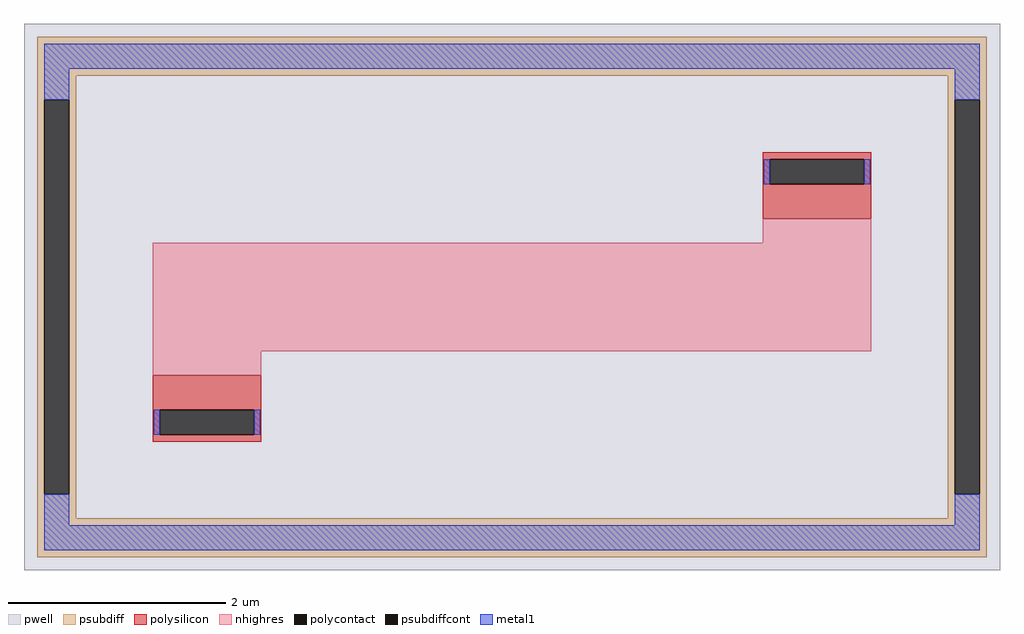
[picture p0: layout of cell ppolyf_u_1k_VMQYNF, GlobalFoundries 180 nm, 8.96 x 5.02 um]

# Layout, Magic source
magic
tech gf180mcuD
magscale 1 10
<< pwell >>
rect -896 -502 896 502
<< psubdiff >>
rect -872 406 872 478
rect -872 362 -800 406
rect -872 -362 -859 362
rect -813 -362 -800 362
rect 800 362 872 406
rect -872 -406 -800 -362
rect 800 -362 813 362
rect 859 -362 872 362
rect 800 -406 872 -362
rect -872 -478 872 -406
<< psubdiffcont >>
rect -859 -362 -813 362
rect 813 -362 859 362
<< polysilicon >>
rect 460 253 660 266
rect 460 207 473 253
rect 647 207 660 253
rect 460 144 660 207
rect -660 -207 -460 -144
rect -660 -253 -647 -207
rect -473 -253 -460 -207
rect -660 -266 -460 -253
<< polycontact >>
rect 473 207 647 253
rect -647 -253 -473 -207
<< nhighres >>
rect 460 100 660 144
rect -660 -100 660 100
rect -660 -144 -460 -100
<< metal1 >>
rect -859 419 859 465
rect -859 362 -813 419
rect 813 362 859 419
rect 462 207 473 253
rect 647 207 658 253
rect -658 -253 -647 -207
rect -473 -253 -462 -207
rect -859 -419 -813 -362
rect 813 -419 859 -362
rect -859 -465 859 -419
<< properties >>
string FIXED_BBOX -836 -442 836 442
string gencell ppolyf_u_1k
string library gf180mcu
string parameters w 1.000 l 1.000 m 1 nx 5 wmin 1.000 lmin 1.000 class resistor rho 1000 val 17.2k dummy 0 dw 0.0 term 0.0 sterm 0.0 caplen 0.4 snake 1 glc 1 grc 1 gtc 0 gbc 0 roverlap 1 endcov 100 full_metal 1 compatible {ppolyf_u_1k ppolyf_u_1k_6p0}
<< end >>
